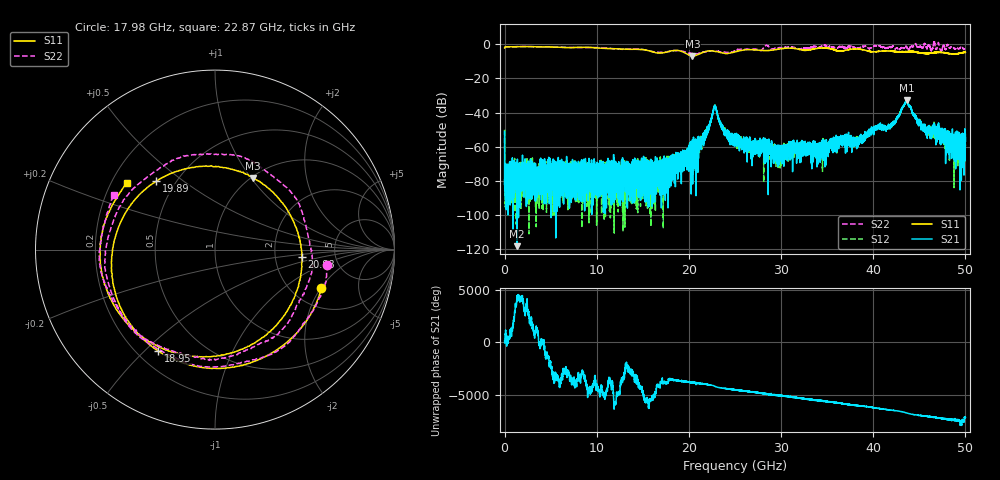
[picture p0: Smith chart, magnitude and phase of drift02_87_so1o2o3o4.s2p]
!Created with skrf (http://scikit-rf.org).
# Hz S RI R 50.0
!freq ReS11 ImS11 ReS21 ImS21 ReS12 ImS12 ReS22 ImS22
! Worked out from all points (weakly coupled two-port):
!   10001 points, 300 kHz to 50 GHz, reference 50 ohm
!   highest |S21| = -32.84 dB at 43.62 GHz (marker M1); lowest = -118.3 dB at 1.345 GHz (marker M2)
!   lowest |S11| = -6.9 dB at 20.38 GHz (marker M3), VSWR 2.65, Z = 51 + j51.1 ohm
!   |S11| at or under -10 dB: nowhere
!   |S22| runs from -5.7 to 2.2 dB; largest |S21 - S12| = 0.0036
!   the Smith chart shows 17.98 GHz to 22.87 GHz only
!   S11 on the Smith chart (normalised r, x): 17.98 GHz: 2.83, -2.03; 18.95 GHz: 0.28, -0.55; 19.89 GHz: 0.39, +0.40; 20.88 GHz: 2.85, -0.30; 22.87 GHz: 0.26, +0.31
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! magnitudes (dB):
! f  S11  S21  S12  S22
! 300 kHz  -2.1  -51.2  -50.1  -2.1
! 260.3 MHz  -1.4  -82.6  -73.5  -1.4
! 1.345 GHz  -1.4  -118.3  -72.1  -1.4
! 8.335 GHz  -1.7  -77.0  -81.6  -1.9
! 16.67 GHz  -5.2  -70.9  -72.5  -4.7
! 17.98 GHz  -4.0  -70.7  -71.2  -4.0
! 18.95 GHz  -3.8  -64.2  -70.6  -3.9
! 19.89 GHz  -6.0  -64.4  -67.8  -5.1
! 20.38 GHz  -6.9  -63.7  -62.4  -5.4
! 20.88 GHz  -6.3  -60.3  -61.7  -5.5
! 21.94 GHz  -4.1  -50.5  -51.5  -4.3
! 22.87 GHz  -4.2  -36.5  -36.2  -3.9
! 23.73 GHz  -5.2  -48.9  -50.7  -4.6
! 25 GHz  -4.5  -55.5  -55.0  -3.9
! 29.78 GHz  -2.8  -59.1  -64.0  -2.0
! 33.34 GHz  -3.0  -73.0  -59.9  -1.5
! 38.22 GHz  -2.8  -56.6  -55.9  -2.2
! 41.67 GHz  -3.9  -48.4  -48.0  -1.9
! 43.62 GHz  -4.5  -32.8  -33.3  -1.6
! 45.61 GHz  -5.3  -51.5  -48.4  0.5
! 49.64 GHz  -4.9  -58.2  -59.3  -1.6
! 50 GHz  -4.7  -52.7  -59.5  -2.7
